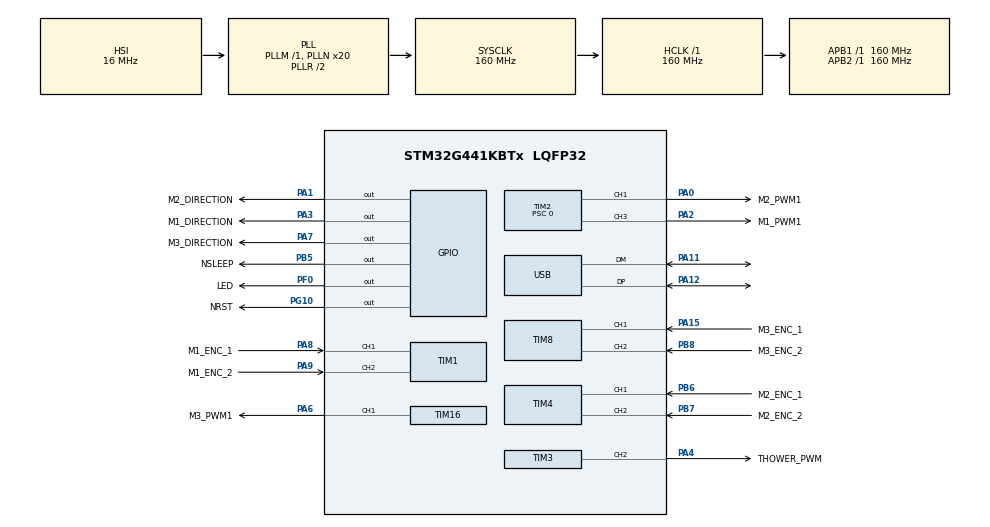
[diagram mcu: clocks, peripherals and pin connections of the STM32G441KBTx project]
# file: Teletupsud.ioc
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Mcu.Family=STM32G4
Mcu.Name=STM32G441KBTx
Mcu.Package=LQFP32
NVIC.PriorityGroup=NVIC_PRIORITYGROUP_4
NVIC.TIM6_DAC_IRQn=true\:0\:0\:false\:false\:true\:true\:true\:true
NVIC.USB_LP_IRQn=true\:0\:0\:false\:false\:true\:false\:true\:true
PA0.GPIO_Label=M2_PWM1
PA0.Signal=S_TIM2_CH1
PA1.GPIO_Label=M2_DIRECTION
PA1.Signal=GPIO_Output
PA11.Mode=Device
PA11.Signal=USB_DM
PA12.Mode=Device
PA12.Signal=USB_DP
PA13.Mode=Serial_Wire
PA13.Signal=SYS_JTMS-SWDIO
PA14.Mode=Serial_Wire
PA14.Signal=SYS_JTCK-SWCLK
PA15.GPIO_Label=M3_ENC_1
PA15.Signal=S_TIM8_CH1
PA2.GPIO_Label=M1_PWM1
PA2.Signal=S_TIM2_CH3
PA3.GPIO_Label=M1_DIRECTION
PA3.Signal=GPIO_Output
PA4.GPIO_Label=THOWER_PWM
PA4.Signal=S_TIM3_CH2
PA6.GPIO_Label=M3_PWM1
PA6.Signal=S_TIM16_CH1
PA7.GPIO_Label=M3_DIRECTION
PA7.Signal=GPIO_Output
PA8.GPIO_Label=M1_ENC_1
PA8.Signal=S_TIM1_CH1
PA9.GPIO_Label=M1_ENC_2
PA9.Signal=S_TIM1_CH2
PB5.GPIO_Label=NSLEEP
PB5.Signal=GPIO_Output
PB6.GPIO_Label=M2_ENC_1
PB6.Signal=S_TIM4_CH1
PB7.GPIO_Label=M2_ENC_2
PB7.Signal=S_TIM4_CH2
PB8-BOOT0.GPIO_Label=M3_ENC_2
PB8-BOOT0.Signal=S_TIM8_CH2
PF0-OSC_IN.GPIO_Label=LED
PF0-OSC_IN.Signal=GPIO_Output
PG10-NRST.GPIO_Label=NRST
PG10-NRST.Signal=GPIO_Output
ProjectManager.HeapSize=0x200
ProjectManager.StackSize=0x400
ProjectManager.TargetToolchain=STM32CubeIDE
RCC.ADC12Freq_Value=160000000
RCC.AHBFreq_Value=160000000
RCC.APB1Freq_Value=160000000
RCC.APB1TimFreq_Value=160000000
RCC.APB2Freq_Value=160000000
RCC.APB2TimFreq_Value=160000000
RCC.CK48CLockSelection=RCC_USBCLKSOURCE_HSI48
RCC.CortexFreq_Value=160000000
RCC.EXTERNAL_CLOCK_VALUE=12288000
RCC.HCLKFreq_Value=160000000
RCC.HSE_VALUE=8000000
RCC.HSI48_VALUE=48000000
RCC.HSI_VALUE=16000000
RCC.LSE_VALUE=32768
RCC.PLLN=20
RCC.PLLQ=RCC_PLLQ_DIV4
RCC.SYSCLKFreq_VALUE=160000000
RCC.SYSCLKSource=RCC_SYSCLKSOURCE_PLLCLK
RCC.USBFreq_Value=48000000
RCC.VCOOutputFreq_Value=320000000
SH.S_TIM16_CH1.0=TIM16_CH1,PWM Generation1 CH1
SH.S_TIM1_CH1.0=TIM1_CH1,Encoder_Interface
SH.S_TIM1_CH2.0=TIM1_CH2,Encoder_Interface
SH.S_TIM2_CH1.0=TIM2_CH1,PWM Generation1 CH1
SH.S_TIM2_CH3.0=TIM2_CH3,PWM Generation3 CH3
SH.S_TIM3_CH2.0=TIM3_CH2,PWM Generation2 CH2
SH.S_TIM4_CH1.0=TIM4_CH1,Encoder_Interface
SH.S_TIM4_CH2.0=TIM4_CH2,Encoder_Interface
SH.S_TIM8_CH1.0=TIM8_CH1,Encoder_Interface
SH.S_TIM8_CH2.0=TIM8_CH2,Encoder_Interface
TIM1.EncoderMode=TIM_ENCODERMODE_TI12
TIM16.Channel=TIM_CHANNEL_1
TIM16.Prescaler=0
TIM2.Channel-PWM\ Generation1\ CH1=TIM_CHANNEL_1
TIM2.Channel-PWM\ Generation3\ CH3=TIM_CHANNEL_3
TIM2.PeriodNoDither=65535
TIM2.Prescaler=0
TIM3.Channel-PWM\ Generation2\ CH2=TIM_CHANNEL_2
TIM3.PeriodNoDither=63999
TIM3.Prescaler=49
TIM4.EncoderMode=TIM_ENCODERMODE_TI12
TIM6.PeriodNoDither=63999
TIM6.Prescaler=24
TIM8.EncoderMode=TIM_ENCODERMODE_TI12
USB_DEVICE.CLASS_NAME_FS=CDC
USB_DEVICE.VirtualMode=Cdc
USB_DEVICE.VirtualModeFS=Cdc_FS
VP_TIM16_VS_ClockSourceINT.Mode=Enable_Timer
VP_TIM17_VS_ClockSourceINT.Mode=Enable_Timer
VP_TIM6_VS_ClockSourceINT.Mode=Enable_Timer
VP_USB_DEVICE_VS_USB_DEVICE_CDC_FS.Mode=CDC_FS
board=custom

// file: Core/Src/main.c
/* USER CODE BEGIN Header */
/**
  ******************************************************************************
  * @file           : main.c
  * @brief          : Main program body
  ******************************************************************************
  * @attention
  *
  * Copyright (c) 2022 STMicroelectronics.
  * All rights reserved.
  *
  * This software is licensed under terms that can be found in the LICENSE file
  * in the root directory of this software component.
  * If no LICENSE file comes with this software, it is provided AS-IS.
  *
  ******************************************************************************
  */
/* USER CODE END Header */
#include "main.h"
#include "usb_device.h"

/* USER CODE BEGIN Includes */
#include "usbd_cdc_if.h" // (1)
/* USER CODE END Includes */

TIM_HandleTypeDef htim1;
TIM_HandleTypeDef htim2;
TIM_HandleTypeDef htim3;
TIM_HandleTypeDef htim4;
TIM_HandleTypeDef htim6;
TIM_HandleTypeDef htim8;
TIM_HandleTypeDef htim16;
TIM_HandleTypeDef htim17;

void SystemClock_Config(void);
static void MX_GPIO_Init(void);
static void MX_TIM1_Init(void);
static void MX_TIM2_Init(void);
static void MX_TIM3_Init(void);
static void MX_TIM4_Init(void);
static void MX_TIM8_Init(void);
static void MX_TIM16_Init(void);
static void MX_TIM17_Init(void);
static void MX_TIM6_Init(void);

/* USER CODE BEGIN 0 */

typedef struct __attribute__((__packed__)) Command {
  int16_t speed1;
  int16_t speed2;
  int16_t speed3;
  uint16_t throwerspeed;
  uint16_t delimiter;
} Command;
Command command = {
	.speed1 = 10,
	.speed2 = 10,
	.speed3 = 10,
	.throwerspeed = 0,
	.delimiter = 0
};
typedef struct Motors{
	int16_t PIDP;
	int16_t PIDI;
	int16_t PIDD;
	int32_t integral;
	int16_t poschange;
	int16_t pos;
}Motors;
Motors Motor1 = {.pos = 0, .poschange = 0, .PIDP = 2000, .PIDI = 20, .PIDD = 0, .integral = 0};
Motors Motor2 = {.pos = 0, .poschange = 0, .PIDP = 2000, .PIDI = 20, .PIDD = 0, .integral = 0};
Motors Motor3 = {.pos = 0, .poschange = 0, .PIDP = 2000, .PIDI = 20, .PIDD = 0, .integral = 0};

typedef struct __attribute__((__packed__)) Feedback {
  int16_t speed1;
  int16_t speed2;
  int16_t speed3;
  uint16_t delimiter;
} Feedback;

Feedback feedback = { // (1)
	.speed1 = 0,
	.speed2 = 0,
	.speed3 = 0,
	.delimiter = 0xAAAA
  };

volatile uint8_t isCommandReceived = 0; // (5)

void CDC_On_Receive(uint8_t* buffer, uint32_t* length) { // (6)
  if (*length == sizeof(Command)) { // (7)

    memcpy(&command, buffer, sizeof(Command)); // (8)
    if (command.delimiter == 0xAAAA) { // (9)
      isCommandReceived = 1;
    }
  }
}
void enc_start(){
	  HAL_TIM_Encoder_Start(&htim1, TIM_CHANNEL_1 | TIM_CHANNEL_2); //Motor 1
	  HAL_TIM_Encoder_Start(&htim4, TIM_CHANNEL_1 | TIM_CHANNEL_2); //Motor 2
	  HAL_TIM_Encoder_Start(&htim8, TIM_CHANNEL_1 | TIM_CHANNEL_2); //Motor 3
}
void pwm_start(){
  HAL_TIM_PWM_Start(&htim2, TIM_CHANNEL_3); // Motor 1
  HAL_TIM_PWM_Start(&htim2, TIM_CHANNEL_1); //Motor 2
  HAL_TIM_PWM_Start(&htim16, TIM_CHANNEL_1); //Motor 3
  HAL_TIM_PWM_Start(&htim3, TIM_CHANNEL_2); //Thrower
  TIM2->CCR3 = 0; //1
  TIM2->CCR1 = 0;//2
  TIM16->CCR1 = 0;//3
  TIM3->CCR2 = 2800;//thrower value that it boots up(2 beeps) in the beginning
}

uint16_t thrower_calculation(uint16_t value, uint16_t min, uint16_t max) { //Function for thrower values, so the speed won't go below or above the limit
	if (value > max) {
		return max;
	}else if (value < min) {
		return min;
	}
	return value;
}

int16_t clamp16(int16_t value, int16_t min, int16_t max){
	if (value<min){
		return min;
	}
	if(value > max){
		return max;
	}
	return value;

}
int32_t clamp32(int32_t value, int32_t min, int32_t max){
	if (value<min){
		return min;
	}
	if(value > max){
		return max;
	}
	return value;

}
void WakingDriversUp(){ //Just sending nsleep signal pulse to the motor drivers

	HAL_GPIO_WritePin(GPIOB, NSLEEP_Pin, GPIO_PIN_RESET);
	for(uint16_t i = 0; i < 300; i++) {
		__asm("nop");
	}
	HAL_GPIO_WritePin(GPIOB, NSLEEP_Pin, GPIO_PIN_SET);
}

int32_t MotorsC(Motors* motor, int16_t pos, int16_t speed) {

	motor->poschange = (pos-motor->pos); //Calculating position change
	int16_t error = (speed-motor->poschange); //Calculating error

	if (speed == 0) { //If speed is 0, then set the motor also 0, otherwise they keep spinning
		motor->integral = 0;
	} else {
		motor->integral += error;
		motor->integral=clamp32(motor->integral, -65535/motor->PIDI, 65535/motor->PIDI);
	}

	motor->pos = pos;
	return (int32_t)error*(int32_t)motor->PIDP + (int32_t)motor->PIDI*(int32_t)motor->integral + (int32_t)motor-> poschange*(int32_t)motor->PIDD;

}

void HAL_TIM_PeriodElapsedCallback(TIM_HandleTypeDef *htim) {
    HAL_GPIO_TogglePin(LED_GPIO_Port, LED_Pin);

	int32_t motor1PWM = clamp32(MotorsC(&Motor1, (int16_t)TIM1->CNT, command.speed1), -65535, 65535);//Calculating pwm

	if (motor1PWM < 0) { //Deciding the direction for the motors
		HAL_GPIO_WritePin(GPIOA, M1_DIRECTION_Pin, 1);
	} else {
		HAL_GPIO_WritePin(GPIOA, M1_DIRECTION_Pin, 0);
	}
	int32_t motor2PWM = clamp32(MotorsC(&Motor2, (int16_t)TIM4->CNT, command.speed2), -65535, 65535);
	if (motor2PWM < 0) {
		HAL_GPIO_WritePin(GPIOA, M2_DIRECTION_Pin, 1);
	} else {
		HAL_GPIO_WritePin(GPIOA, M2_DIRECTION_Pin, 0);
	}
	int32_t motor3PWM = clamp32(MotorsC(&Motor3, (int16_t)TIM8->CNT, command.speed3), -65535, 65535);
	if (motor3PWM < 0) {
		HAL_GPIO_WritePin(GPIOA, M3_DIRECTION_Pin, 1);
	} else {
		HAL_GPIO_WritePin(GPIOA, M3_DIRECTION_Pin, 0);
	}
	TIM2->CCR3 = abs(motor1PWM); //Setting motor pwm-s
	TIM2->CCR1 = abs(motor2PWM);
	TIM16->CCR1 = abs(motor3PWM);
}

/* USER CODE END 0 */

int main(void)
{

  /* MCU Configuration--------------------------------------------------------*/

  /* Reset of all peripherals, Initializes the Flash interface and the Systick. */
  HAL_Init();

  /* Configure the system clock */
  SystemClock_Config();

  /* Initialize all configured peripherals */
  MX_GPIO_Init();
  MX_USB_Device_Init();
  MX_TIM1_Init();
  MX_TIM2_Init();
  MX_TIM3_Init();
  MX_TIM4_Init();
  MX_TIM8_Init();
  MX_TIM16_Init();
  MX_TIM17_Init();
  MX_TIM6_Init();
  /* USER CODE BEGIN 2 */

 HAL_TIM_Base_Start_IT(&htim6);

  enc_start(); //Starting encoders
  pwm_start(); //Starting pwm
	HAL_GPIO_WritePin(GPIOB, NSLEEP_Pin, GPIO_PIN_SET); //Setting the nsleep pin

  /* USER CODE END 2 */

  /* Infinite loop */
  while (1)
  {

    /* USER CODE BEGIN 3 */
	//TIM3->CCR2 = command.throwerspeed +3150;//Updating thrower

    if (isCommandReceived) {
      TIM3->CCR2 = thrower_calculation(command.throwerspeed, 10, 7000);//calling out the
      isCommandReceived = 0;
      feedback.speed1 = Motor1.poschange; //For debbuging
      feedback.speed2 = Motor2.poschange;
      feedback.speed3 = command.throwerspeed;
      WakingDriversUp(); //Sending nsleep signals
      CDC_Transmit_FS(&feedback, sizeof(feedback));  // Send data over USB
    }
  }
  /* USER CODE END 3 */
}

void SystemClock_Config(void)
{
  RCC_OscInitTypeDef RCC_OscInitStruct = {0};
  RCC_ClkInitTypeDef RCC_ClkInitStruct = {0};

  /** Configure the main internal regulator output voltage
  */
  HAL_PWREx_ControlVoltageScaling(PWR_REGULATOR_VOLTAGE_SCALE1_BOOST);

  /** Initializes the RCC Oscillators according to the specified parameters
  * in the RCC_OscInitTypeDef structure.
  */
  RCC_OscInitStruct.OscillatorType = RCC_OSCILLATORTYPE_HSI|RCC_OSCILLATORTYPE_HSI48;
  RCC_OscInitStruct.HSIState = RCC_HSI_ON;
  RCC_OscInitStruct.HSICalibrationValue = RCC_HSICALIBRATION_DEFAULT;
  RCC_OscInitStruct.HSI48State = RCC_HSI48_ON;
  RCC_OscInitStruct.PLL.PLLState = RCC_PLL_ON;
  RCC_OscInitStruct.PLL.PLLSource = RCC_PLLSOURCE_HSI;
  RCC_OscInitStruct.PLL.PLLM = RCC_PLLM_DIV1;
  RCC_OscInitStruct.PLL.PLLN = 20;
  RCC_OscInitStruct.PLL.PLLP = RCC_PLLP_DIV2;
  RCC_OscInitStruct.PLL.PLLQ = RCC_PLLQ_DIV4;
  RCC_OscInitStruct.PLL.PLLR = RCC_PLLR_DIV2;
  if (HAL_RCC_OscConfig(&RCC_OscInitStruct) != HAL_OK)
  {
    Error_Handler();
  }

  /** Initializes the CPU, AHB and APB buses clocks
  */
  RCC_ClkInitStruct.ClockType = RCC_CLOCKTYPE_HCLK|RCC_CLOCKTYPE_SYSCLK
                              |RCC_CLOCKTYPE_PCLK1|RCC_CLOCKTYPE_PCLK2;
  RCC_ClkInitStruct.SYSCLKSource = RCC_SYSCLKSOURCE_PLLCLK;
  RCC_ClkInitStruct.AHBCLKDivider = RCC_SYSCLK_DIV1;
  RCC_ClkInitStruct.APB1CLKDivider = RCC_HCLK_DIV1;
  RCC_ClkInitStruct.APB2CLKDivider = RCC_HCLK_DIV1;

  if (HAL_RCC_ClockConfig(&RCC_ClkInitStruct, FLASH_LATENCY_4) != HAL_OK)
  {
    Error_Handler();
  }
}

static void MX_TIM1_Init(void)
{

  TIM_Encoder_InitTypeDef sConfig = {0};
  TIM_MasterConfigTypeDef sMasterConfig = {0};

  htim1.Instance = TIM1;
  htim1.Init.Prescaler = 0;
  htim1.Init.CounterMode = TIM_COUNTERMODE_UP;
  htim1.Init.Period = 65535;
  htim1.Init.ClockDivision = TIM_CLOCKDIVISION_DIV1;
  htim1.Init.RepetitionCounter = 0;
  htim1.Init.AutoReloadPreload = TIM_AUTORELOAD_PRELOAD_DISABLE;
  sConfig.EncoderMode = TIM_ENCODERMODE_TI12;
  sConfig.IC1Polarity = TIM_ICPOLARITY_RISING;
  sConfig.IC1Selection = TIM_ICSELECTION_DIRECTTI;
  sConfig.IC1Prescaler = TIM_ICPSC_DIV1;
  sConfig.IC1Filter = 0;
  sConfig.IC2Polarity = TIM_ICPOLARITY_RISING;
  sConfig.IC2Selection = TIM_ICSELECTION_DIRECTTI;
  sConfig.IC2Prescaler = TIM_ICPSC_DIV1;
  sConfig.IC2Filter = 0;
  if (HAL_TIM_Encoder_Init(&htim1, &sConfig) != HAL_OK)
  {
    Error_Handler();
  }
  sMasterConfig.MasterOutputTrigger = TIM_TRGO_RESET;
  sMasterConfig.MasterOutputTrigger2 = TIM_TRGO2_RESET;
  sMasterConfig.MasterSlaveMode = TIM_MASTERSLAVEMODE_DISABLE;
  if (HAL_TIMEx_MasterConfigSynchronization(&htim1, &sMasterConfig) != HAL_OK)
  {
    Error_Handler();
  }

}

static void MX_TIM2_Init(void)
{

  TIM_MasterConfigTypeDef sMasterConfig = {0};
  TIM_OC_InitTypeDef sConfigOC = {0};

  htim2.Instance = TIM2;
  htim2.Init.Prescaler = 0;
  htim2.Init.CounterMode = TIM_COUNTERMODE_UP;
  htim2.Init.Period = 65535;
  htim2.Init.ClockDivision = TIM_CLOCKDIVISION_DIV1;
  htim2.Init.AutoReloadPreload = TIM_AUTORELOAD_PRELOAD_DISABLE;
  if (HAL_TIM_PWM_Init(&htim2) != HAL_OK)
  {
    Error_Handler();
  }
  sMasterConfig.MasterOutputTrigger = TIM_TRGO_RESET;
  sMasterConfig.MasterSlaveMode = TIM_MASTERSLAVEMODE_DISABLE;
  if (HAL_TIMEx_MasterConfigSynchronization(&htim2, &sMasterConfig) != HAL_OK)
  {
    Error_Handler();
  }
  sConfigOC.OCMode = TIM_OCMODE_PWM1;
  sConfigOC.Pulse = 0;
  sConfigOC.OCPolarity = TIM_OCPOLARITY_HIGH;
  sConfigOC.OCFastMode = TIM_OCFAST_DISABLE;
  if (HAL_TIM_PWM_ConfigChannel(&htim2, &sConfigOC, TIM_CHANNEL_1) != HAL_OK)
  {
    Error_Handler();
  }
  if (HAL_TIM_PWM_ConfigChannel(&htim2, &sConfigOC, TIM_CHANNEL_3) != HAL_OK)
  {
    Error_Handler();
  }
  HAL_TIM_MspPostInit(&htim2);

}

static void MX_TIM3_Init(void)
{

  TIM_MasterConfigTypeDef sMasterConfig = {0};
  TIM_OC_InitTypeDef sConfigOC = {0};

  htim3.Instance = TIM3;
  htim3.Init.Prescaler = 49;
  htim3.Init.CounterMode = TIM_COUNTERMODE_UP;
  htim3.Init.Period = 63999;
  htim3.Init.ClockDivision = TIM_CLOCKDIVISION_DIV1;
  htim3.Init.AutoReloadPreload = TIM_AUTORELOAD_PRELOAD_DISABLE;
  if (HAL_TIM_PWM_Init(&htim3) != HAL_OK)
  {
    Error_Handler();
  }
  sMasterConfig.MasterOutputTrigger = TIM_TRGO_RESET;
  sMasterConfig.MasterSlaveMode = TIM_MASTERSLAVEMODE_DISABLE;
  if (HAL_TIMEx_MasterConfigSynchronization(&htim3, &sMasterConfig) != HAL_OK)
  {
    Error_Handler();
  }
  sConfigOC.OCMode = TIM_OCMODE_PWM1;
  sConfigOC.Pulse = 0;
  sConfigOC.OCPolarity = TIM_OCPOLARITY_HIGH;
  sConfigOC.OCFastMode = TIM_OCFAST_DISABLE;
  if (HAL_TIM_PWM_ConfigChannel(&htim3, &sConfigOC, TIM_CHANNEL_2) != HAL_OK)
  {
    Error_Handler();
  }
  HAL_TIM_MspPostInit(&htim3);

}

static void MX_TIM4_Init(void)
{

  TIM_Encoder_InitTypeDef sConfig = {0};
  TIM_MasterConfigTypeDef sMasterConfig = {0};

  htim4.Instance = TIM4;
  htim4.Init.Prescaler = 0;
  htim4.Init.CounterMode = TIM_COUNTERMODE_UP;
  htim4.Init.Period = 65535;
  htim4.Init.ClockDivision = TIM_CLOCKDIVISION_DIV1;
  htim4.Init.AutoReloadPreload = TIM_AUTORELOAD_PRELOAD_DISABLE;
  sConfig.EncoderMode = TIM_ENCODERMODE_TI12;
  sConfig.IC1Polarity = TIM_ICPOLARITY_RISING;
  sConfig.IC1Selection = TIM_ICSELECTION_DIRECTTI;
  sConfig.IC1Prescaler = TIM_ICPSC_DIV1;
  sConfig.IC1Filter = 0;
  sConfig.IC2Polarity = TIM_ICPOLARITY_RISING;
  sConfig.IC2Selection = TIM_ICSELECTION_DIRECTTI;
  sConfig.IC2Prescaler = TIM_ICPSC_DIV1;
  sConfig.IC2Filter = 0;
  if (HAL_TIM_Encoder_Init(&htim4, &sConfig) != HAL_OK)
  {
    Error_Handler();
  }
  sMasterConfig.MasterOutputTrigger = TIM_TRGO_RESET;
  sMasterConfig.MasterSlaveMode = TIM_MASTERSLAVEMODE_DISABLE;
  if (HAL_TIMEx_MasterConfigSynchronization(&htim4, &sMasterConfig) != HAL_OK)
  {
    Error_Handler();
  }

}

static void MX_TIM6_Init(void)
{

  TIM_MasterConfigTypeDef sMasterConfig = {0};

  htim6.Instance = TIM6;
  htim6.Init.Prescaler = 24;
  htim6.Init.CounterMode = TIM_COUNTERMODE_UP;
  htim6.Init.Period = 63999;
  htim6.Init.AutoReloadPreload = TIM_AUTORELOAD_PRELOAD_DISABLE;
  if (HAL_TIM_Base_Init(&htim6) != HAL_OK)
  {
    Error_Handler();
  }
  sMasterConfig.MasterOutputTrigger = TIM_TRGO_RESET;
  sMasterConfig.MasterSlaveMode = TIM_MASTERSLAVEMODE_DISABLE;
  if (HAL_TIMEx_MasterConfigSynchronization(&htim6, &sMasterConfig) != HAL_OK)
  {
    Error_Handler();
  }

}

static void MX_TIM8_Init(void)
{

  TIM_Encoder_InitTypeDef sConfig = {0};
  TIM_MasterConfigTypeDef sMasterConfig = {0};

  htim8.Instance = TIM8;
  htim8.Init.Prescaler = 0;
  htim8.Init.CounterMode = TIM_COUNTERMODE_UP;
  htim8.Init.Period = 65535;
  htim8.Init.ClockDivision = TIM_CLOCKDIVISION_DIV1;
  htim8.Init.RepetitionCounter = 0;
  htim8.Init.AutoReloadPreload = TIM_AUTORELOAD_PRELOAD_DISABLE;
  sConfig.EncoderMode = TIM_ENCODERMODE_TI12;
  sConfig.IC1Polarity = TIM_ICPOLARITY_RISING;
  sConfig.IC1Selection = TIM_ICSELECTION_DIRECTTI;
  sConfig.IC1Prescaler = TIM_ICPSC_DIV1;
  sConfig.IC1Filter = 0;
  sConfig.IC2Polarity = TIM_ICPOLARITY_RISING;
  sConfig.IC2Selection = TIM_ICSELECTION_DIRECTTI;
  sConfig.IC2Prescaler = TIM_ICPSC_DIV1;
  sConfig.IC2Filter = 0;
  if (HAL_TIM_Encoder_Init(&htim8, &sConfig) != HAL_OK)
  {
    Error_Handler();
  }
  sMasterConfig.MasterOutputTrigger = TIM_TRGO_RESET;
  sMasterConfig.MasterOutputTrigger2 = TIM_TRGO2_RESET;
  sMasterConfig.MasterSlaveMode = TIM_MASTERSLAVEMODE_DISABLE;
  if (HAL_TIMEx_MasterConfigSynchronization(&htim8, &sMasterConfig) != HAL_OK)
  {
    Error_Handler();
  }

}

static void MX_TIM16_Init(void)
{

  TIM_OC_InitTypeDef sConfigOC = {0};
  TIM_BreakDeadTimeConfigTypeDef sBreakDeadTimeConfig = {0};

  htim16.Instance = TIM16;
  htim16.Init.Prescaler = 0;
  htim16.Init.CounterMode = TIM_COUNTERMODE_UP;
  htim16.Init.Period = 65535;
  htim16.Init.ClockDivision = TIM_CLOCKDIVISION_DIV1;
  htim16.Init.RepetitionCounter = 0;
  htim16.Init.AutoReloadPreload = TIM_AUTORELOAD_PRELOAD_DISABLE;
  if (HAL_TIM_Base_Init(&htim16) != HAL_OK)
  {
    Error_Handler();
  }
  if (HAL_TIM_PWM_Init(&htim16) != HAL_OK)
  {
    Error_Handler();
  }
  sConfigOC.OCMode = TIM_OCMODE_PWM1;
  sConfigOC.Pulse = 0;
  sConfigOC.OCPolarity = TIM_OCPOLARITY_HIGH;
  sConfigOC.OCNPolarity = TIM_OCNPOLARITY_HIGH;
  sConfigOC.OCFastMode = TIM_OCFAST_DISABLE;
  sConfigOC.OCIdleState = TIM_OCIDLESTATE_RESET;
  sConfigOC.OCNIdleState = TIM_OCNIDLESTATE_RESET;
  if (HAL_TIM_PWM_ConfigChannel(&htim16, &sConfigOC, TIM_CHANNEL_1) != HAL_OK)
  {
    Error_Handler();
  }
  sBreakDeadTimeConfig.OffStateRunMode = TIM_OSSR_DISABLE;
  sBreakDeadTimeConfig.OffStateIDLEMode = TIM_OSSI_DISABLE;
  sBreakDeadTimeConfig.LockLevel = TIM_LOCKLEVEL_OFF;
  sBreakDeadTimeConfig.DeadTime = 0;
  sBreakDeadTimeConfig.BreakState = TIM_BREAK_DISABLE;
  sBreakDeadTimeConfig.BreakPolarity = TIM_BREAKPOLARITY_HIGH;
  sBreakDeadTimeConfig.BreakFilter = 0;
  sBreakDeadTimeConfig.AutomaticOutput = TIM_AUTOMATICOUTPUT_DISABLE;
  if (HAL_TIMEx_ConfigBreakDeadTime(&htim16, &sBreakDeadTimeConfig) != HAL_OK)
  {
    Error_Handler();
  }
  HAL_TIM_MspPostInit(&htim16);

}

static void MX_TIM17_Init(void)
{

  htim17.Instance = TIM17;
  htim17.Init.Prescaler = 0;
  htim17.Init.CounterMode = TIM_COUNTERMODE_UP;
  htim17.Init.Period = 65535;
  htim17.Init.ClockDivision = TIM_CLOCKDIVISION_DIV1;
  htim17.Init.RepetitionCounter = 0;
  htim17.Init.AutoReloadPreload = TIM_AUTORELOAD_PRELOAD_DISABLE;
  if (HAL_TIM_Base_Init(&htim17) != HAL_OK)
  {
    Error_Handler();
  }

}

static void MX_GPIO_Init(void)
{
  GPIO_InitTypeDef GPIO_InitStruct = {0};

  /* GPIO Ports Clock Enable */
  __HAL_RCC_GPIOF_CLK_ENABLE();
  __HAL_RCC_GPIOG_CLK_ENABLE();
  __HAL_RCC_GPIOA_CLK_ENABLE();
  __HAL_RCC_GPIOB_CLK_ENABLE();

  /*Configure GPIO pin Output Level */
  HAL_GPIO_WritePin(LED_GPIO_Port, LED_Pin, GPIO_PIN_RESET);

  /*Configure GPIO pin Output Level */
  HAL_GPIO_WritePin(NRST_GPIO_Port, NRST_Pin, GPIO_PIN_RESET);

  /*Configure GPIO pin Output Level */
  HAL_GPIO_WritePin(GPIOA, M2_DIRECTION_Pin|M1_DIRECTION_Pin|M3_DIRECTION_Pin, GPIO_PIN_RESET);

  /*Configure GPIO pin Output Level */
  HAL_GPIO_WritePin(NSLEEP_GPIO_Port, NSLEEP_Pin, GPIO_PIN_RESET);

  /*Configure GPIO pin : LED_Pin */
  GPIO_InitStruct.Pin = LED_Pin;
  GPIO_InitStruct.Mode = GPIO_MODE_OUTPUT_PP;
  GPIO_InitStruct.Pull = GPIO_NOPULL;
  GPIO_InitStruct.Speed = GPIO_SPEED_FREQ_LOW;
  HAL_GPIO_Init(LED_GPIO_Port, &GPIO_InitStruct);

  /*Configure GPIO pin : NRST_Pin */
  GPIO_InitStruct.Pin = NRST_Pin;
  GPIO_InitStruct.Mode = GPIO_MODE_OUTPUT_PP;
  GPIO_InitStruct.Pull = GPIO_NOPULL;
  GPIO_InitStruct.Speed = GPIO_SPEED_FREQ_LOW;
  HAL_GPIO_Init(NRST_GPIO_Port, &GPIO_InitStruct);

  /*Configure GPIO pins : M2_DIRECTION_Pin M1_DIRECTION_Pin M3_DIRECTION_Pin */
  GPIO_InitStruct.Pin = M2_DIRECTION_Pin|M1_DIRECTION_Pin|M3_DIRECTION_Pin;
  GPIO_InitStruct.Mode = GPIO_MODE_OUTPUT_PP;
  GPIO_InitStruct.Pull = GPIO_NOPULL;
  GPIO_InitStruct.Speed = GPIO_SPEED_FREQ_LOW;
  HAL_GPIO_Init(GPIOA, &GPIO_InitStruct);

  /*Configure GPIO pin : NSLEEP_Pin */
  GPIO_InitStruct.Pin = NSLEEP_Pin;
  GPIO_InitStruct.Mode = GPIO_MODE_OUTPUT_PP;
  GPIO_InitStruct.Pull = GPIO_NOPULL;
  GPIO_InitStruct.Speed = GPIO_SPEED_FREQ_LOW;
  HAL_GPIO_Init(NSLEEP_GPIO_Port, &GPIO_InitStruct);

}

void Error_Handler(void)
{
  __disable_irq();
  while (1)
  {
  }
}
